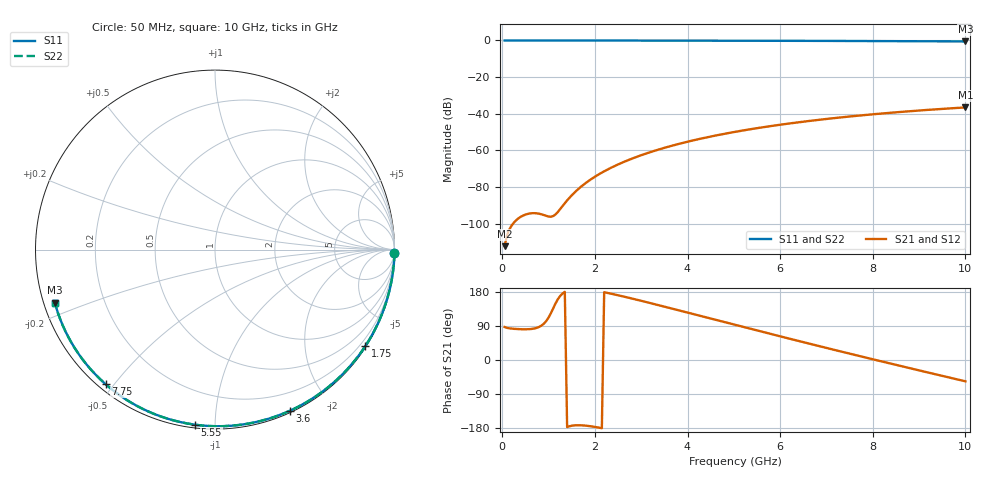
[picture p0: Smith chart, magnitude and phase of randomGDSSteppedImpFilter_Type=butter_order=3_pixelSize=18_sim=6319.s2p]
! freq	dB(S11)	phase(S11)	dB(S12)	phase(S12)
!  dB(S21)	phase(S21)	dB(S22)	phase(S22)
!S-par simulation data
#  GHz  S  DB  R 50
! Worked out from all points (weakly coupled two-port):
!   200 points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, 50 MHz to 10 GHz, reference 50 ohm
!   highest |S21| = -36.54 dB at 10 GHz (marker M1); lowest = -112.2 dB at 50 MHz (marker M2)
!   lowest |S11| = -0.5 dB at 10 GHz (marker M3), VSWR 32.46, Z = 1.58 - j8.07 ohm
!   |S11| at or under -10 dB: nowhere
!   |S22| runs from -0.5 to 0.0 dB; largest |S21 - S12| = 0
!   S11 on the Smith chart (normalised r, x): 50 MHz: open; 1.75 GHz: 0.03, -3.42; 3.6 GHz: 0.02, -1.57; 5.55 GHz: 0.02, -0.89; 7.75 GHz: 0.02, -0.48; 10 GHz: 0.03, -0.16
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0.05  -0.00 -1.0  -112.23 87.1  -112.23 87.1  -0.00 -1.0
0.45  -0.01 -8.5  -95.53 81.0  -95.53 81.0  -0.01 -8.5
0.85  -0.02 -16.0  -94.88 91.1  -94.88 91.1  -0.02 -16.0
1.65  -0.04 -30.8  -80.86 -172.1  -80.86 -172.1  -0.04 -30.8
1.7  -0.04 -31.7  -79.78 -172.3  -79.78 -172.3  -0.04 -31.7
1.75  -0.04 -32.6  -78.77 -172.7  -78.77 -172.7  -0.04 -32.6
1.9  -0.05 -35.3  -76.00 -174.7  -76.00 -174.7  -0.05 -35.3
2.05  -0.05 -38.0  -73.57 -177.7  -73.57 -177.7  -0.05 -38.0
2.25  -0.05 -41.6  -70.72 177.6  -70.72 177.6  -0.05 -41.6
2.45  -0.06 -45.2  -68.23 172.3  -68.23 172.3  -0.06 -45.2
2.9  -0.07 -53.1  -63.52 159.2  -63.52 159.2  -0.07 -53.1
3.4  -0.08 -61.7  -59.32 143.9  -59.32 143.9  -0.08 -61.7
3.6  -0.09 -65.1  -57.87 137.7  -57.87 137.7  -0.09 -65.1
4.3  -0.11 -76.7  -53.50 115.6  -53.50 115.6  -0.11 -76.7
5.05  -0.14 -88.7  -49.76 92.0  -49.76 92.0  -0.14 -88.7
5.55  -0.16 -96.5  -47.66 76.4  -47.66 76.4  -0.16 -96.5
6.1  -0.19 -104.9  -45.63 59.3  -45.63 59.3  -0.19 -104.9
6.7  -0.22 -113.8  -43.70 40.9  -43.70 40.9  -0.22 -113.8
7.75  -0.30 -129.1  -40.87 9.3  -40.87 9.3  -0.30 -129.1
8.35  -0.35 -137.8  -39.52 -8.4  -39.52 -8.4  -0.35 -137.8
9.2  -0.44 -150.0  -37.86 -33.2  -37.86 -33.2  -0.44 -150.0
10  -0.54 -161.6  -36.54 -56.2  -36.54 -56.2  -0.54 -161.6
